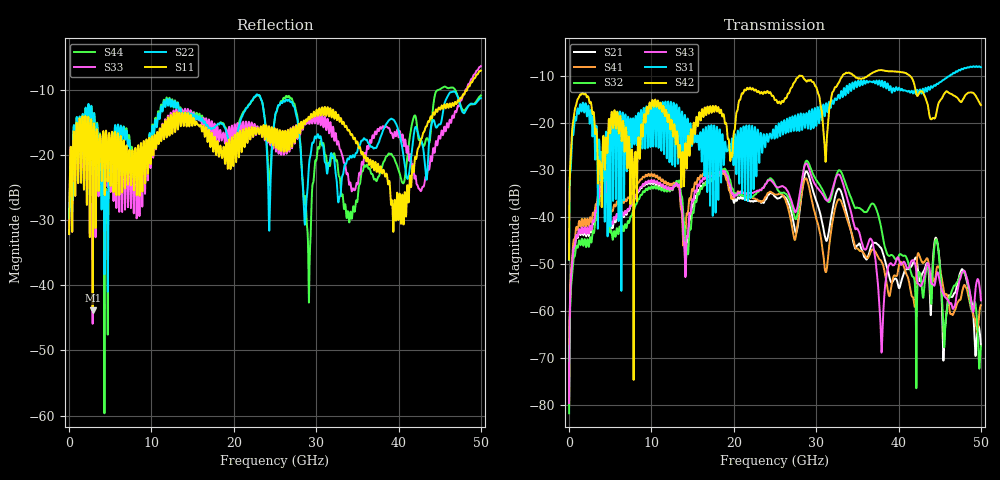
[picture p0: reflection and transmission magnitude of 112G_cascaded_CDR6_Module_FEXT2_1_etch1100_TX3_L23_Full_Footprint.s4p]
! Created Tue Feb 26 14:05:02 2019
# hz S ma R 50
! 4 Port Network Data from SP1.SP block
! freq  magS11  angS11  magS12  angS12  magS13  angS13  magS14  angS14
!  magS21  angS21  magS22  angS22  magS23  angS23  magS24  angS24
!  magS31  angS31  magS32  angS32  magS33  angS33  magS34  angS34
!  magS41  angS41  magS42  angS42  magS43  angS43  magS44  angS44
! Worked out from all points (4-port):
!   5000 points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, 10 MHz to 50 GHz, reference 50 ohm
!   strongest paths, dB at 10 MHz, 12.51 GHz, 25.01 GHz, 37.51 GHz, 50 GHz:
!     S42: -49.1, -20.1, -15.1, -8.8, -16.1
!     S31: -49.1, -25.0, -22.4, -11.8, -8.1
!     S43: -79.6, -34.1, -33.3, -54.4, -57.7
!     S32: -81.8, -34.2, -33.1, -39.4, -67.5
!     S41: -78.2, -33.3, -35.2, -48.4, -58.8
!     S21: -79.8, -34.2, -35.7, -45.9, -67.5
!   lowest |S11| = -43.8 dB at 2.87 GHz (marker M1), VSWR 1.01, Z = 49.5 + j0.379 ohm
!   |S11| at or under -10 dB: start of sweep to 48.33 GHz
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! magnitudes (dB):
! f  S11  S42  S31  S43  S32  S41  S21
! 10 MHz  -32.1  -49.1  -49.1  -79.6  -81.8  -78.2  -79.8
! 840 MHz  -17.6  -16.3  -19.5  -44.1  -46.5  -42.5  -44.4
! 2.87 GHz  -43.8  -18.1  -22.4  -40.9  -43.0  -39.3  -41.3
! 4.5 GHz  -16.3  -23.1  -21.8  -31.5  -31.3  -31.6  -31.6
! 32.87 GHz  -14.9  -10.9  -14.8  -31.1  -30.1  -36.3  -34.1
! 37.92 GHz  -22.3  -8.7  -11.5  -68.3  -42.5  -49.4  -46.7
! 50 GHz  -7.0  -16.1  -8.1  -57.7  -67.5  -58.8  -67.5
